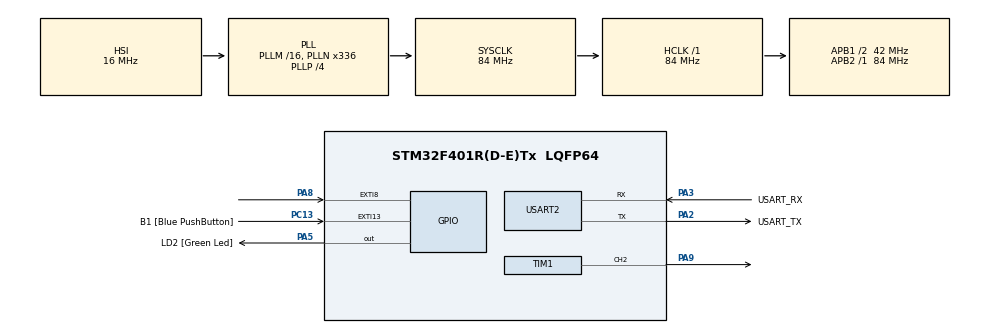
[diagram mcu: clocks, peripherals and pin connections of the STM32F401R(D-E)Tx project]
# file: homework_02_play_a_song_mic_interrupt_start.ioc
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Mcu.Family=STM32F4
Mcu.Name=STM32F401R(D-E)Tx
Mcu.Package=LQFP64
NVIC.EXTI15_10_IRQn=true\:0\:0\:false\:false\:true\:true\:true\:true
NVIC.EXTI9_5_IRQn=true\:0\:0\:false\:false\:true\:true\:true\:true
NVIC.PriorityGroup=NVIC_PRIORITYGROUP_0
PA13.GPIO_Label=TMS
PA13.Mode=Serial_Wire
PA13.Signal=SYS_JTMS-SWDIO
PA14.GPIO_Label=TCK
PA14.Mode=Serial_Wire
PA14.Signal=SYS_JTCK-SWCLK
PA2.GPIO_Label=USART_TX
PA2.GPIO_Mode=GPIO_MODE_AF_PP
PA2.GPIO_PuPd=GPIO_NOPULL
PA2.GPIO_Speed=GPIO_SPEED_FREQ_LOW
PA2.Mode=Asynchronous
PA2.Signal=USART2_TX
PA3.GPIO_Label=USART_RX
PA3.GPIO_Mode=GPIO_MODE_AF_PP
PA3.GPIO_PuPd=GPIO_NOPULL
PA3.GPIO_Speed=GPIO_SPEED_FREQ_LOW
PA3.Mode=Asynchronous
PA3.Signal=USART2_RX
PA5.GPIO_Label=LD2 [Green Led]
PA5.GPIO_Mode=GPIO_MODE_OUTPUT_PP
PA5.GPIO_PuPd=GPIO_NOPULL
PA5.GPIO_Speed=GPIO_SPEED_FREQ_LOW
PA5.Signal=GPIO_Output
PA8.Signal=GPXTI8
PA9.Signal=S_TIM1_CH2
PB3.GPIO_Label=SWO
PB3.Signal=SYS_JTDO-SWO
PC13-ANTI_TAMP.GPIO_Label=B1 [Blue PushButton]
PC13-ANTI_TAMP.GPIO_ModeDefaultEXTI=GPIO_MODE_IT_FALLING
PC13-ANTI_TAMP.GPIO_PuPd=GPIO_NOPULL
PC13-ANTI_TAMP.Signal=GPXTI13
PC14-OSC32_IN.Mode=LSE-External-Oscillator
PC14-OSC32_IN.Signal=RCC_OSC32_IN
PC15-OSC32_OUT.Mode=LSE-External-Oscillator
PC15-OSC32_OUT.Signal=RCC_OSC32_OUT
PH0\ -\ OSC_IN.Mode=HSE-External-Clock-Source
PH0\ -\ OSC_IN.Signal=RCC_OSC_IN
PH1\ -\ OSC_OUT.Mode=HSE-External-Clock-Source
PH1\ -\ OSC_OUT.Signal=RCC_OSC_OUT
ProjectManager.HeapSize=0x200
ProjectManager.StackSize=0x400
ProjectManager.TargetToolchain=STM32CubeIDE
RCC.48MHZClocksFreq_Value=48000000
RCC.AHBFreq_Value=84000000
RCC.APB1CLKDivider=RCC_HCLK_DIV2
RCC.APB1Freq_Value=42000000
RCC.APB1TimFreq_Value=84000000
RCC.APB2Freq_Value=84000000
RCC.APB2TimFreq_Value=84000000
RCC.CortexFreq_Value=84000000
RCC.HCLKFreq_Value=84000000
RCC.HSE_VALUE=8000000
RCC.HSI_VALUE=16000000
RCC.PLLN=336
RCC.PLLP=RCC_PLLP_DIV4
RCC.PLLQ=7
RCC.SYSCLKFreq_VALUE=84000000
RCC.SYSCLKSource=RCC_SYSCLKSOURCE_PLLCLK
RCC.VCOOutputFreq_Value=336000000
SH.S_TIM1_CH2.0=TIM1_CH2,PWM Generation2 CH2
TIM1.Channel-PWM\ Generation2\ CH2=TIM_CHANNEL_2
TIM1.Period=0
TIM1.Prescaler=100-1
USART2.VirtualMode=VM_ASYNC
VP_TIM1_VS_ClockSourceINT.Mode=Internal
board=NUCLEO-F401RE

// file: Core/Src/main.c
/* USER CODE BEGIN Header */
/**
  ******************************************************************************
  * @file           : main.c
  * @brief          : Main program body
  ******************************************************************************
  * @attention
  *
  * Copyright (c) 2023 STMicroelectronics.
  * All rights reserved.
  *
  * This software is licensed under terms that can be found in the LICENSE file
  * in the root directory of this software component.
  * If no LICENSE file comes with this software, it is provided AS-IS.
  *
  ******************************************************************************
  */
/* USER CODE END Header */
#include "main.h"

/* USER CODE BEGIN Includes */
#include "stdlib.h"
/* USER CODE END Includes */

/* USER CODE BEGIN PD */
#define DO4   3206
#define DO4_  3032
#define RE4   2857
#define RE4_  2700
#define MI4   2545
#define FA4   2406
#define FA4_  2270
#define SOL4  2142
#define SOL4_ 2024
#define LA4   1909
#define LA4_  1802
#define SI4   1700

#define DO5   1606
#define DO5_  1516
#define RE5   1431
#define RE5_  1350
#define MI5   1274
#define FA5   1203
#define FA5_  1135
#define SOL5  1072
#define SOL5_ 1012
#define LA5   954
#define LA5_  901
#define SI5   851

#define PAUSE 0

#define TEMPO 1000	// time of one bar (battuta del pentagramma) in ms

#define SONG_SELECTOR 1

/* USER CODE END PD */

TIM_HandleTypeDef htim1;

UART_HandleTypeDef huart2;

/* USER CODE BEGIN PV */
struct note {
	int period;
	int delay;
	struct note* next;
}note;

// first note of the song, it is not null when the linked list for the song has been created
struct note* head = NULL;

// represents the activation of the interrupt of the microphone, set to 1 when detected interrupt
volatile int initialize_song = 0;

/* USER CODE END PV */

void SystemClock_Config(void);
static void MX_GPIO_Init(void);
static void MX_USART2_UART_Init(void);
static void MX_TIM1_Init(void);
/* USER CODE BEGIN PFP */

// microphone interrupt callback
void HAL_GPIO_EXTI_Callback(uint16_t GPIO_Pin);

// routine in case of errors
void error_routine(void);

// receives the period of the node to set
static void set_Note(int);

// receives the period of the node to play and the delay of play
static void play_Note(int, int);

// create the linked list of notes (that composes a song)
static struct note* create_Song(int[], int[], int);

// the parameter is the TEMPO multiplier
static struct note* play_London_Bridge(int);
static struct note* play_Pokemon_Emerald(int);

/* USER CODE END PFP */

int main(void)
{

  /* MCU Configuration--------------------------------------------------------*/

  /* Reset of all peripherals, Initializes the Flash interface and the Systick. */
  HAL_Init();

  /* Configure the system clock */
  SystemClock_Config();

  /* Initialize all configured peripherals */
  MX_GPIO_Init();
  MX_USART2_UART_Init();
  MX_TIM1_Init();

  /* Infinite loop */
  /* USER CODE BEGIN WHILE */
  while (1)
  {
	  if(initialize_song) {
		  // remove possibilities of multiple interrupts too close to each other
		  HAL_Delay(50);

		  initialize_song = 0;

		  switch(SONG_SELECTOR) {
			  case 0:
				  head = play_London_Bridge(1);
				  break;
			  case 1:
				  head = play_Pokemon_Emerald(1);
				  break;
			  default:
				  head = NULL;
				  error_routine();
				  break;
		  }
	  }

	  if(head != NULL) {
		  play_Note(head->period, head->delay);
		  head = head->next;
	  }

    /* USER CODE END WHILE */

  }
}

void SystemClock_Config(void)
{
  RCC_OscInitTypeDef RCC_OscInitStruct = {0};
  RCC_ClkInitTypeDef RCC_ClkInitStruct = {0};

  /** Configure the main internal regulator output voltage
  */
  __HAL_RCC_PWR_CLK_ENABLE();
  __HAL_PWR_VOLTAGESCALING_CONFIG(PWR_REGULATOR_VOLTAGE_SCALE2);

  /** Initializes the RCC Oscillators according to the specified parameters
  * in the RCC_OscInitTypeDef structure.
  */
  RCC_OscInitStruct.OscillatorType = RCC_OSCILLATORTYPE_HSI;
  RCC_OscInitStruct.HSIState = RCC_HSI_ON;
  RCC_OscInitStruct.HSICalibrationValue = RCC_HSICALIBRATION_DEFAULT;
  RCC_OscInitStruct.PLL.PLLState = RCC_PLL_ON;
  RCC_OscInitStruct.PLL.PLLSource = RCC_PLLSOURCE_HSI;
  RCC_OscInitStruct.PLL.PLLM = 16;
  RCC_OscInitStruct.PLL.PLLN = 336;
  RCC_OscInitStruct.PLL.PLLP = RCC_PLLP_DIV4;
  RCC_OscInitStruct.PLL.PLLQ = 7;
  if (HAL_RCC_OscConfig(&RCC_OscInitStruct) != HAL_OK)
  {
    Error_Handler();
  }

  /** Initializes the CPU, AHB and APB buses clocks
  */
  RCC_ClkInitStruct.ClockType = RCC_CLOCKTYPE_HCLK|RCC_CLOCKTYPE_SYSCLK
                              |RCC_CLOCKTYPE_PCLK1|RCC_CLOCKTYPE_PCLK2;
  RCC_ClkInitStruct.SYSCLKSource = RCC_SYSCLKSOURCE_PLLCLK;
  RCC_ClkInitStruct.AHBCLKDivider = RCC_SYSCLK_DIV1;
  RCC_ClkInitStruct.APB1CLKDivider = RCC_HCLK_DIV2;
  RCC_ClkInitStruct.APB2CLKDivider = RCC_HCLK_DIV1;

  if (HAL_RCC_ClockConfig(&RCC_ClkInitStruct, FLASH_LATENCY_2) != HAL_OK)
  {
    Error_Handler();
  }
}

static void MX_TIM1_Init(void)
{

  TIM_ClockConfigTypeDef sClockSourceConfig = {0};
  TIM_MasterConfigTypeDef sMasterConfig = {0};
  TIM_OC_InitTypeDef sConfigOC = {0};
  TIM_BreakDeadTimeConfigTypeDef sBreakDeadTimeConfig = {0};

  htim1.Instance = TIM1;
  htim1.Init.Prescaler = 100-1;
  htim1.Init.CounterMode = TIM_COUNTERMODE_UP;
  htim1.Init.Period = 0;
  htim1.Init.ClockDivision = TIM_CLOCKDIVISION_DIV1;
  htim1.Init.RepetitionCounter = 0;
  htim1.Init.AutoReloadPreload = TIM_AUTORELOAD_PRELOAD_DISABLE;
  if (HAL_TIM_Base_Init(&htim1) != HAL_OK)
  {
    Error_Handler();
  }
  sClockSourceConfig.ClockSource = TIM_CLOCKSOURCE_INTERNAL;
  if (HAL_TIM_ConfigClockSource(&htim1, &sClockSourceConfig) != HAL_OK)
  {
    Error_Handler();
  }
  if (HAL_TIM_PWM_Init(&htim1) != HAL_OK)
  {
    Error_Handler();
  }
  sMasterConfig.MasterOutputTrigger = TIM_TRGO_RESET;
  sMasterConfig.MasterSlaveMode = TIM_MASTERSLAVEMODE_DISABLE;
  if (HAL_TIMEx_MasterConfigSynchronization(&htim1, &sMasterConfig) != HAL_OK)
  {
    Error_Handler();
  }
  sConfigOC.OCMode = TIM_OCMODE_PWM1;
  sConfigOC.Pulse = 0;
  sConfigOC.OCPolarity = TIM_OCPOLARITY_HIGH;
  sConfigOC.OCNPolarity = TIM_OCNPOLARITY_HIGH;
  sConfigOC.OCFastMode = TIM_OCFAST_DISABLE;
  sConfigOC.OCIdleState = TIM_OCIDLESTATE_RESET;
  sConfigOC.OCNIdleState = TIM_OCNIDLESTATE_RESET;
  if (HAL_TIM_PWM_ConfigChannel(&htim1, &sConfigOC, TIM_CHANNEL_2) != HAL_OK)
  {
    Error_Handler();
  }
  sBreakDeadTimeConfig.OffStateRunMode = TIM_OSSR_DISABLE;
  sBreakDeadTimeConfig.OffStateIDLEMode = TIM_OSSI_DISABLE;
  sBreakDeadTimeConfig.LockLevel = TIM_LOCKLEVEL_OFF;
  sBreakDeadTimeConfig.DeadTime = 0;
  sBreakDeadTimeConfig.BreakState = TIM_BREAK_DISABLE;
  sBreakDeadTimeConfig.BreakPolarity = TIM_BREAKPOLARITY_HIGH;
  sBreakDeadTimeConfig.AutomaticOutput = TIM_AUTOMATICOUTPUT_DISABLE;
  if (HAL_TIMEx_ConfigBreakDeadTime(&htim1, &sBreakDeadTimeConfig) != HAL_OK)
  {
    Error_Handler();
  }
  HAL_TIM_MspPostInit(&htim1);

}

static void MX_USART2_UART_Init(void)
{

  huart2.Instance = USART2;
  huart2.Init.BaudRate = 115200;
  huart2.Init.WordLength = UART_WORDLENGTH_8B;
  huart2.Init.StopBits = UART_STOPBITS_1;
  huart2.Init.Parity = UART_PARITY_NONE;
  huart2.Init.Mode = UART_MODE_TX_RX;
  huart2.Init.HwFlowCtl = UART_HWCONTROL_NONE;
  huart2.Init.OverSampling = UART_OVERSAMPLING_16;
  if (HAL_UART_Init(&huart2) != HAL_OK)
  {
    Error_Handler();
  }

}

static void MX_GPIO_Init(void)
{
  GPIO_InitTypeDef GPIO_InitStruct = {0};

  /* GPIO Ports Clock Enable */
  __HAL_RCC_GPIOC_CLK_ENABLE();
  __HAL_RCC_GPIOH_CLK_ENABLE();
  __HAL_RCC_GPIOA_CLK_ENABLE();
  __HAL_RCC_GPIOB_CLK_ENABLE();

  /*Configure GPIO pin Output Level */
  HAL_GPIO_WritePin(LD2_GPIO_Port, LD2_Pin, GPIO_PIN_RESET);

  /*Configure GPIO pin : B1_Pin */
  GPIO_InitStruct.Pin = B1_Pin;
  GPIO_InitStruct.Mode = GPIO_MODE_IT_FALLING;
  GPIO_InitStruct.Pull = GPIO_NOPULL;
  HAL_GPIO_Init(B1_GPIO_Port, &GPIO_InitStruct);

  /*Configure GPIO pin : LD2_Pin */
  GPIO_InitStruct.Pin = LD2_Pin;
  GPIO_InitStruct.Mode = GPIO_MODE_OUTPUT_PP;
  GPIO_InitStruct.Pull = GPIO_NOPULL;
  GPIO_InitStruct.Speed = GPIO_SPEED_FREQ_LOW;
  HAL_GPIO_Init(LD2_GPIO_Port, &GPIO_InitStruct);

  /*Configure GPIO pin : PA8 */
  GPIO_InitStruct.Pin = GPIO_PIN_8;
  GPIO_InitStruct.Mode = GPIO_MODE_IT_RISING;
  GPIO_InitStruct.Pull = GPIO_NOPULL;
  HAL_GPIO_Init(GPIOA, &GPIO_InitStruct);

  /* EXTI interrupt init*/
  HAL_NVIC_SetPriority(EXTI9_5_IRQn, 0, 0);
  HAL_NVIC_EnableIRQ(EXTI9_5_IRQn);

  HAL_NVIC_SetPriority(EXTI15_10_IRQn, 0, 0);
  HAL_NVIC_EnableIRQ(EXTI15_10_IRQn);

}

/* USER CODE BEGIN 4 */

void HAL_GPIO_EXTI_Callback(uint16_t GPIO_Pin) {
	// interrupt of the microphone to START the song
	if(GPIO_Pin == GPIO_PIN_8)
		initialize_song = 1;
}

void error_routine() {
	HAL_GPIO_WritePin(GPIOA, GPIO_PIN_5, GPIO_PIN_SET);
	HAL_Delay(500);
	HAL_GPIO_WritePin(GPIOA, GPIO_PIN_5, GPIO_PIN_RESET);
	HAL_Delay(500);
	HAL_GPIO_WritePin(GPIOA, GPIO_PIN_5, GPIO_PIN_SET);
	HAL_Delay(500);
	HAL_GPIO_WritePin(GPIOA, GPIO_PIN_5, GPIO_PIN_RESET);
	HAL_Delay(500);
	HAL_GPIO_WritePin(GPIOA, GPIO_PIN_5, GPIO_PIN_SET);
}

static void set_Note(int period) {

  TIM_ClockConfigTypeDef sClockSourceConfig = {0};
  TIM_MasterConfigTypeDef sMasterConfig = {0};
  TIM_OC_InitTypeDef sConfigOC = {0};
  TIM_BreakDeadTimeConfigTypeDef sBreakDeadTimeConfig = {0};

  htim1.Instance = TIM1;
  htim1.Init.Prescaler = 100-1;
  htim1.Init.CounterMode = TIM_COUNTERMODE_UP;
  htim1.Init.Period = period - 1;
  htim1.Init.ClockDivision = TIM_CLOCKDIVISION_DIV1;
  htim1.Init.RepetitionCounter = 0;
  htim1.Init.AutoReloadPreload = TIM_AUTORELOAD_PRELOAD_DISABLE;

  if (HAL_TIM_Base_Init(&htim1) != HAL_OK){
    Error_Handler();
  }

  sClockSourceConfig.ClockSource = TIM_CLOCKSOURCE_INTERNAL;
  if (HAL_TIM_ConfigClockSource(&htim1, &sClockSourceConfig) != HAL_OK){
    Error_Handler();
  }

  if (HAL_TIM_PWM_Init(&htim1) != HAL_OK){
    Error_Handler();
  }

  sMasterConfig.MasterOutputTrigger = TIM_TRGO_RESET;
  sMasterConfig.MasterSlaveMode = TIM_MASTERSLAVEMODE_DISABLE;

  if (HAL_TIMEx_MasterConfigSynchronization(&htim1, &sMasterConfig) != HAL_OK){
    Error_Handler();
  }

  sConfigOC.OCMode = TIM_OCMODE_PWM1;
  sConfigOC.Pulse = ((int) period / 2) - 1;
  sConfigOC.OCPolarity = TIM_OCPOLARITY_HIGH;
  sConfigOC.OCNPolarity = TIM_OCNPOLARITY_HIGH;
  sConfigOC.OCFastMode = TIM_OCFAST_DISABLE;
  sConfigOC.OCIdleState = TIM_OCIDLESTATE_RESET;
  sConfigOC.OCNIdleState = TIM_OCNIDLESTATE_RESET;

  if (HAL_TIM_PWM_ConfigChannel(&htim1, &sConfigOC, TIM_CHANNEL_2) != HAL_OK){
    Error_Handler();
  }

  sBreakDeadTimeConfig.OffStateRunMode = TIM_OSSR_DISABLE;
  sBreakDeadTimeConfig.OffStateIDLEMode = TIM_OSSI_DISABLE;
  sBreakDeadTimeConfig.LockLevel = TIM_LOCKLEVEL_OFF;
  sBreakDeadTimeConfig.DeadTime = 0;
  sBreakDeadTimeConfig.BreakState = TIM_BREAK_DISABLE;
  sBreakDeadTimeConfig.BreakPolarity = TIM_BREAKPOLARITY_HIGH;
  sBreakDeadTimeConfig.AutomaticOutput = TIM_AUTOMATICOUTPUT_DISABLE;

  if (HAL_TIMEx_ConfigBreakDeadTime(&htim1, &sBreakDeadTimeConfig) != HAL_OK){
    Error_Handler();
  }

  HAL_TIM_MspPostInit(&htim1);
}

static struct note* create_and_play(int notes[], int delays[], int size_notes, int size_delays) {
	// check dimension of arrays and create structure of song
	if(size_notes != size_delays) {
		error_routine();
	} else {
		return create_Song(notes, delays, size_notes);
	}
	return NULL;
}

static struct note* create_Song(int notes[], int delays[], int size) {
	struct note *head = NULL;
	struct note *tail = NULL;
	int i = 0;

	for(i = 0; i < size; i++) {
		if(i == 0){
			head = malloc(sizeof(note));
			head->period = notes[i];
			head->delay = delays[i];
			head->next = NULL;

			tail = head;
		} else {
			tail->next = malloc(sizeof(note));
			tail = tail->next;
			tail->period = notes[i];
			tail->delay = delays[i];
			tail->next = NULL;
		}
	}

	return head;
}

static void play_Note(int period, int delay) {
	if(period != PAUSE) {
		set_Note(period);
		HAL_TIM_PWM_Start(&htim1, TIM_CHANNEL_2);
	}

	HAL_Delay(delay);
	HAL_TIM_PWM_Stop(&htim1, TIM_CHANNEL_2);
}

static struct note* play_London_Bridge(int multi) {
	// write notes
	int notes[] = {SOL4, LA4, SOL4, FA4, MI4, FA4, SOL4, RE4, MI4, FA4, MI4, FA4, SOL4, SOL4, LA4, SOL4,
					FA4, MI4, FA4, SOL4, RE4, SOL4, MI4, DO4};

	// write tempos
	int delays[] = {(int) TEMPO * multi *  3/8,
					(int) TEMPO * multi * 1/8,
					(int) TEMPO * multi * 2/8,
					(int) TEMPO * multi * 2/8,
					(int) TEMPO * multi * 2/8,
					(int) TEMPO * multi * 2/8,
					(int) TEMPO * multi * 4/8,
					(int) TEMPO * multi * 2/8,
					(int) TEMPO * multi * 2/8,
					(int) TEMPO * multi * 4/8,
					(int) TEMPO * multi * 2/8,
					(int) TEMPO * multi * 2/8,
					(int) TEMPO * multi * 4/8,
					(int) TEMPO * multi * 3/8,
					(int) TEMPO * multi * 1/8,
					(int) TEMPO * multi * 2/8,
					(int) TEMPO * multi * 2/8,
					(int) TEMPO * multi * 2/8,
					(int) TEMPO * multi * 2/8,
					(int) TEMPO * multi * 4/8,
					(int) TEMPO * multi * 4/8,
					(int) TEMPO * multi * 4/8,
					(int) TEMPO * multi * 2/8,
					(int) TEMPO * multi * 6/8
	};

	return create_and_play(notes, delays, (sizeof(notes)/sizeof(int)), (sizeof(delays)/sizeof(int)));
}

static struct note* play_Pokemon_Emerald(int multi) {
	// write notes
	int notes[] = {(int) PAUSE,
					(int)FA4*2,
					(int)DO4,
					(int)FA4,
					(int)DO4,

					(int)FA4*2,
					(int)DO4,
					(int)FA4,
					(int)DO4,

					(int)LA4*2,
					(int)MI4,
					(int)LA4,
					(int)MI4,

					(int)DO4_,
					(int)LA4,
					(int)DO4_/2,
					(int)LA4,

					(int)RE4,
					(int)LA4,
					(int)RE4/2,
					(int)LA4,

					(int)DO4_,
					(int)LA4,
					(int)DO4_/2,
					(int)LA4,

					(int)DO4,
					(int)LA4_,
					(int)DO4,
					(int)LA4,

					(int)SI4,

					(int)LA4_*2,
					(int)FA4,
					(int)LA4_,
					(int)FA4,

					(int)LA4_,
					(int)FA4,
					(int)LA4,
					(int)FA4,

					(int)SOL4*2,
					(int)RE4,
					(int)SOL4,
					(int)RE4,

					(int)SOL4*2,
					(int)RE4,
					(int)SOL4,
					(int)RE4,

					(int)DO4,
					(int)SOL4,
					(int)DO4/2,
					(int)SOL4,

					(int)MI4/2,
					(int)SOL4,
					(int)DO4/2,
					(int)SOL4,

					(int)DO4,
					(int)SOL4,
					(int)LA4_*2,
					(int)SOL4,

					(int)DO4,
					(int)DO4*2
	};

	// write tempos
	int delays[] = {(int) TEMPO * multi * 6/8,
			(int) TEMPO * multi * 2/8,
			(int) TEMPO * multi * 2/8,
			(int) TEMPO * multi * 2/8,
			(int) TEMPO * multi * 2/8,

			(int) TEMPO * multi * 2/8,
			(int) TEMPO * multi * 2/8,
			(int) TEMPO * multi * 2/8,
			(int) TEMPO * multi * 2/8,

			(int) TEMPO * multi * 2/8,
			(int) TEMPO * multi * 2/8,
			(int) TEMPO * multi * 2/8,
			(int) TEMPO * multi * 2/8,

			(int) TEMPO * multi * 2/8,
			(int) TEMPO * multi * 2/8,
			(int) TEMPO * multi * 2/8,
			(int) TEMPO * multi * 2/8,

			(int) TEMPO * multi * 2/8,
			(int) TEMPO * multi * 2/8,
			(int) TEMPO * multi * 2/8,
			(int) TEMPO * multi * 2/8,

			(int) TEMPO * multi * 2/8,
			(int) TEMPO * multi * 2/8,
			(int) TEMPO * multi * 2/8,
			(int) TEMPO * multi * 2/8,

			(int) TEMPO * multi * 2/8,
			(int) TEMPO * multi * 2/8,
			(int) TEMPO * multi * 2/8,
			(int) TEMPO * multi * 2/8,

			(int) TEMPO * multi * 8/8,

			(int) TEMPO * multi * 2/8,
			(int) TEMPO * multi * 2/8,
			(int) TEMPO * multi * 2/8,
			(int) TEMPO * multi * 2/8,

			(int) TEMPO * multi * 2/8,
			(int) TEMPO * multi * 2/8,
			(int) TEMPO * multi * 2/8,
			(int) TEMPO * multi * 2/8,

			(int) TEMPO * multi * 2/8,
			(int) TEMPO * multi * 2/8,
			(int) TEMPO * multi * 2/8,
			(int) TEMPO * multi * 2/8,

			(int) TEMPO * multi * 2/8,
			(int) TEMPO * multi * 2/8,
			(int) TEMPO * multi * 2/8,
			(int) TEMPO * multi * 2/8,

			(int) TEMPO * multi * 2/8,
			(int) TEMPO * multi * 2/8,
			(int) TEMPO * multi * 2/8,
			(int) TEMPO * multi * 2/8,

			(int) TEMPO * multi * 2/8,
			(int) TEMPO * multi * 2/8,
			(int) TEMPO * multi * 2/8,
			(int) TEMPO * multi * 2/8,

			(int) TEMPO * multi * 2/8,
			(int) TEMPO * multi * 2/8,
			(int) TEMPO * multi * 2/8,
			(int) TEMPO * multi * 2/8,

			(int) TEMPO * multi * 2/8,
			(int) TEMPO * multi * 6/8
	};

	return create_and_play(notes, delays, (sizeof(notes)/sizeof(int)), (sizeof(delays)/sizeof(int)));
}

/* USER CODE END 4 */

void Error_Handler(void)
{
  __disable_irq();
  while (1)
  {
  }
}
